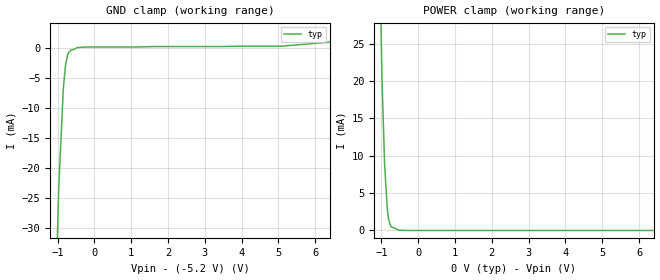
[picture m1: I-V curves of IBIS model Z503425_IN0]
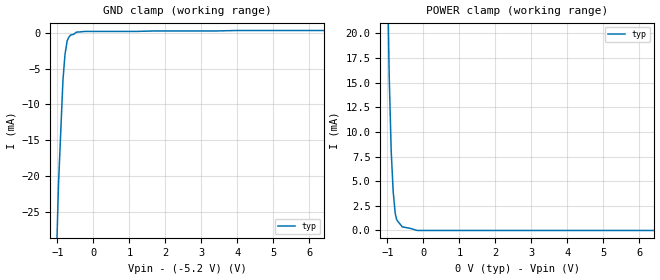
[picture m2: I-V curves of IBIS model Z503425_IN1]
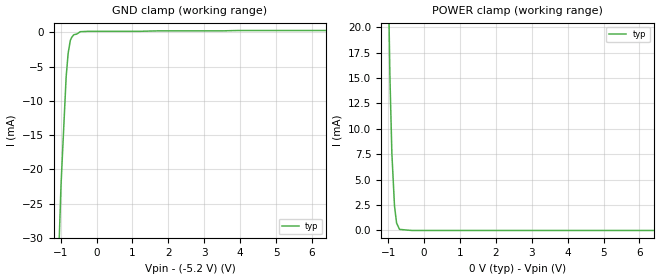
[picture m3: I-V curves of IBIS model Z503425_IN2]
| YOU ARE ONLY AUTHORIZED TO USE THIS SOFTWARE
| ACCORDING TO LICENSOR'S LICENSE RESTRICTIONS.
[IBIS Ver] 3.1
[File Name] mc10el15d.ibs
[File Rev] 2.0
[Source] Measured and created by ICX Technology
[Date] Friday 7/14/00 9:07:50 AM
[Copyright]
| (C) COPYRIGHT 1993-2000
| MENTOR GRAPHICS CORPORATION
| ICX STANDARD LIBRARY, ICX PROJECT MODELING,
| ICX CUSTOM MODELING, ICX VENDOR MODEL
| ALL RIGHTS RESERVED.
| THE FOLLOWING ARE TRADEMARKS OR SERVICE MARKS OF
| MENTOR GRAPHICS CORPORATION:ICX (R), ICX STANDARD
| LIBRARY(R), ICX PROJECT MODELING(R), ICX CUSTOM
| MODELING(R), qualityIBIS(TM), MODELVIEWER(TM),
| AND MODELEDITOR(TM)
| ALL COPIES OF SOFTWARE, INCLUDING BUT NOT LIMITED TO
| ANY MODIFICATIONS, ENHANCEMENTS OR DERIVATIVE WORKS,
| MUST CONTAIN ALL MENTOR GRAPHICS CORPORATION'S
| NOTICES AND LEGENDS, INCLUDING THOSE EMBEDDED IN
| SOFTWARE AND THOSE AFFIXED TO SOFTWARE MEDIUM
| AND CONTAINER, AS RECEIVED FROM MENTOR GRAPHICS
| CORPORATION.
|  ZAP Model Builder 2.7
[Component] MC10EL15D
[Manufacturer] OnSemiconductor
[Package]
| variable   typ   min   max
R_pkg  .156ohms NA NA
L_pkg  3.148nH NA NA
C_pkg  .388pF NA NA
[Pin] signal_name  model_name  R_pin  L_pin C_pin
1 Q0 Z503425_OUT .162 3.798n .418p
2 _Q0 Z503425_OUT .158 3.358n .398p
3 Q1 Z503425_OUT .154 2.928n .378p
4 _Q1 Z503425_OUT .15 2.508n .358p
5 Q2 Z503425_OUT .15 2.508n .358p
6 _Q2 Z503425_OUT .154 2.928n .378p
7 Q3 Z503425_OUT .158 3.358n .398p
8 _Q3 Z503425_OUT .162 3.798n .418p
9 VEE POWER .162 3.798n .418p
10 SEL Z503425_IN0 .158 3.358n .398p
11 VBB NC .154 2.928n .378p
12 _CLK Z503425_IN1 .15 2.508n .358p
13 CLK Z503425_IN1 .15 2.508n .358p
14 SCLK Z503425_IN2 .154 2.928n .378p
15 _EN Z503425_IN3 .158 3.358n .398p
16 VCC POWER .162 3.798n .418p
| Models and submodels in the file (5): Z503425_IN0 (Input_ECL), Z503425_IN1 (Input_ECL), Z503425_IN2 (Input_ECL), Z503425_IN3 (Input_ECL), Z503425_OUT (Output_ECL)
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| (C) COPYRIGHT 1993-2000
| MENTOR GRAPHICS CORPORATION
| ICX STANDARD LIBRARY, ICX PROJECT MODELING,
| ICX CUSTOM MODELING, ICX VENDOR MODEL
| ALL RIGHTS RESERVED.
| THE FOLLOWING ARE TRADEMARKS OR SERVICE MARKS OF
| MENTOR GRAPHICS CORPORATION:ICX (R), ICX STANDARD
| LIBRARY(R), ICX PROJECT MODELING(R), ICX CUSTOM
| MODELING(R), qualityIBIS(TM), MODELVIEWER(TM),
| AND MODELEDITOR(TM)
| ALL COPIES OF SOFTWARE, INCLUDING BUT NOT LIMITED TO
| ANY MODIFICATIONS, ENHANCEMENTS OR DERIVATIVE WORKS,
| MUST CONTAIN ALL MENTOR GRAPHICS CORPORATION'S
| NOTICES AND LEGENDS, INCLUDING THOSE EMBEDDED IN
| SOFTWARE AND THOSE AFFIXED TO SOFTWARE MEDIUM
| AND CONTAINER, AS RECEIVED FROM MENTOR GRAPHICS
| CORPORATION.
| Model Application Version 1.89 2/18/99.
[Model] Z503425_IN0
Model_type Input_ECL
Vinl = -1.480V
Vinh = -1.130V
C_comp 4.000pF NA NA
| variable typ   min   max
[Voltage Range] -5.200V NA NA
[GND Clamp Reference] -5.200V NA NA
[POWER Clamp Reference] 0.000V NA NA
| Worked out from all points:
|   GND clamp passes 1 mA (typ) near -0.72 V on its own axis
|   POWER clamp passes 1 mA (typ) near -0.78 V on its own axis
[GND Clamp]
-5.2V     -207.5mA   NA         NA
-1.147V   -62.62mA   NA         NA
-971mV    -23.46mA   NA         NA
-847mV    -6.969mA   NA         NA
-792mV    -3.152mA   NA         NA
-731mV    -1.143mA   NA         NA
-694mV    -706.2uA   NA         NA
-635mV    -342.1uA   NA         NA
-474mV    56.49uA    NA         NA
5.078V    294uA      NA         NA
10.4V     3.002mA    NA         NA
[POWER Clamp]
-5.2V     1.705A     NA         NA
-1.475V   226.9mA    NA         NA
-1.216V   99.93mA    NA         NA
-1.108V   55.16mA    NA         NA
-985.4mV  20.59mA    NA         NA
-913.5mV  8.977mA    NA         NA
-842.3mV  3.05mA     NA         NA
-805.5mV  1.506mA    NA         NA
-747.1mV  527.6uA    NA         NA
-525.1mV  35.88uA    NA         NA
-262.5mV  0A         NA         NA
10.4V     0A         NA         NA
| (C) COPYRIGHT 1993-2000
| MENTOR GRAPHICS CORPORATION
| ICX STANDARD LIBRARY, ICX PROJECT MODELING,
| ICX CUSTOM MODELING, ICX VENDOR MODEL
| ALL RIGHTS RESERVED.
| THE FOLLOWING ARE TRADEMARKS OR SERVICE MARKS OF
| MENTOR GRAPHICS CORPORATION:ICX (R), ICX STANDARD
| LIBRARY(R), ICX PROJECT MODELING(R), ICX CUSTOM
| MODELING(R), qualityIBIS(TM), MODELVIEWER(TM),
| AND MODELEDITOR(TM)
| ALL COPIES OF SOFTWARE, INCLUDING BUT NOT LIMITED TO
| ANY MODIFICATIONS, ENHANCEMENTS OR DERIVATIVE WORKS,
| MUST CONTAIN ALL MENTOR GRAPHICS CORPORATION'S
| NOTICES AND LEGENDS, INCLUDING THOSE EMBEDDED IN
| SOFTWARE AND THOSE AFFIXED TO SOFTWARE MEDIUM
| AND CONTAINER, AS RECEIVED FROM MENTOR GRAPHICS
| CORPORATION.
| Model Application Version 1.89 2/18/99.
[Model] Z503425_IN1
Model_type Input_ECL
Vinl = -1.480V
Vinh = -1.130V
C_comp 4.000pF NA NA
| variable typ   min   max
[Voltage Range] -5.200V NA NA
[GND Clamp Reference] -5.200V NA NA
[POWER Clamp Reference] 0.000V NA NA
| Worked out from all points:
|   GND clamp passes 1 mA (typ) near -0.72 V on its own axis
|   POWER clamp passes 1 mA (typ) near -0.73 V on its own axis
[GND Clamp]
-5.2V     -275.3mA   NA         NA
-1.157V   -54.4mA    NA         NA
-972mV    -21.2mA    NA         NA
-848mV    -6.659mA   NA         NA
-792mV    -3.082mA   NA         NA
-732mV    -1.169mA   NA         NA
-694mV    -715.9uA   NA         NA
-635mV    -339.8uA   NA         NA
-552mV    -234.8uA   NA         NA
-474mV    60.31uA    NA         NA
3.991V    293.7uA    NA         NA
10.4V     293.7uA    NA         NA
[POWER Clamp]
-5.2V     1.764A     NA         NA
-1.016V   29.43mA    NA         NA
-951.5mV  15.61mA    NA         NA
-896.9mV  8.105mA    NA         NA
-841.6mV  3.959mA    NA         NA
-785.9mV  1.755mA    NA         NA
-747.1mV  1.127mA    NA         NA
-587.9mV  365.9uA    NA         NA
-175.7mV  0A         NA         NA
10.4V     0A         NA         NA
| (C) COPYRIGHT 1993-2000
| MENTOR GRAPHICS CORPORATION
| ICX STANDARD LIBRARY, ICX PROJECT MODELING,
| ICX CUSTOM MODELING, ICX VENDOR MODEL
| ALL RIGHTS RESERVED.
| THE FOLLOWING ARE TRADEMARKS OR SERVICE MARKS OF
| MENTOR GRAPHICS CORPORATION:ICX (R), ICX STANDARD
| LIBRARY(R), ICX PROJECT MODELING(R), ICX CUSTOM
| MODELING(R), qualityIBIS(TM), MODELVIEWER(TM),
| AND MODELEDITOR(TM)
| ALL COPIES OF SOFTWARE, INCLUDING BUT NOT LIMITED TO
| ANY MODIFICATIONS, ENHANCEMENTS OR DERIVATIVE WORKS,
| MUST CONTAIN ALL MENTOR GRAPHICS CORPORATION'S
| NOTICES AND LEGENDS, INCLUDING THOSE EMBEDDED IN
| SOFTWARE AND THOSE AFFIXED TO SOFTWARE MEDIUM
| AND CONTAINER, AS RECEIVED FROM MENTOR GRAPHICS
| CORPORATION.
| Model Application Version 1.89 2/18/99.
[Model] Z503425_IN2
Model_type Input_ECL
Vinl = -1.480V
Vinh = -1.130V
C_comp 4.000pF NA NA
| variable typ   min   max
[Voltage Range] -5.200V NA NA
[GND Clamp Reference] -5.200V NA NA
[POWER Clamp Reference] 0.000V NA NA
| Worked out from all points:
|   GND clamp passes 1 mA (typ) near -0.72 V on its own axis
|   POWER clamp passes 1 mA (typ) near -0.78 V on its own axis
[GND Clamp]
-5.2V     -511.9mA   NA         NA
-1.162V   -49.48mA   NA         NA
-991mV    -22.27mA   NA         NA
-848mV    -6.451mA   NA         NA
-792mV    -3.031mA   NA         NA
-732mV    -1.162mA   NA         NA
-693mV    -714.8uA   NA         NA
-635mV    -339.1uA   NA         NA
-552mV    -238.1uA   NA         NA
-454mV    106.4uA    NA         NA
3.934V    278.5uA    NA         NA
10.4V     278.5uA    NA         NA
[POWER Clamp]
-5.2V     1.744A     NA         NA
-1.484V   237.1mA    NA         NA
-1.201V   96.14mA    NA         NA
-1.105V   56.89mA    NA         NA
-1.016V   29mA       NA         NA
-952.1mV  15.12mA    NA         NA
-898.2mV  7.622mA    NA         NA
-824.7mV  2.415mA    NA         NA
-766.9mV  737.5uA    NA         NA
-684.2mV  106.5uA    NA         NA
-342.1mV  0A         NA         NA
10.4V     0A         NA         NA
